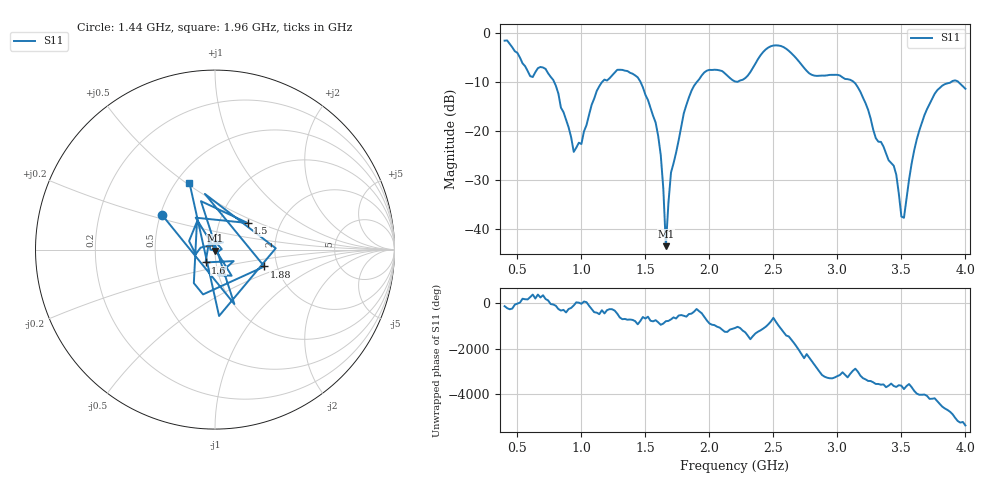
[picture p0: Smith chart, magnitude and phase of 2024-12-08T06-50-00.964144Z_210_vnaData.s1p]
!Created with skrf (http://scikit-rf.org).
# Hz S RI R 50.0
!freq ReS11 ImS11
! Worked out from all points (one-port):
!   181 points, 400 MHz to 4 GHz, reference 50 ohm
!   lowest |S11| = -43.5 dB at 1.66 GHz (marker M1), VSWR 1.01, Z = 50.2 - j0.65 ohm
!   |S11| at or under -10 dB: 788 MHz to 1.16 GHz (372.3 MHz wide, 38.2 % of centre); 1.463 GHz to 1.901 GHz (438.1 MHz wide, 26.1 % of centre); 3.129 GHz to 3.886 GHz (757.3 MHz wide, 21.6 % of centre) (the widest 3 of 4)
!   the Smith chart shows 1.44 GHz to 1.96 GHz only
!   S11 on the Smith chart (normalised r, x): 1.44 GHz: 0.51, +0.23; 1.5 GHz: 1.37, +0.43; 1.6 GHz: 0.89, -0.13; 1.88 GHz: 1.71, -0.35; 1.96 GHz: 0.58, +0.52
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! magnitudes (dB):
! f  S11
! 400 MHz  -1.5
! 600 MHz  -8.8
! 720 MHz  -7.3
! 860 MHz  -16.1
! 940 MHz  -24.2
! 1 GHz  -22.6
! 1.14 GHz  -10.8
! 1.3 GHz  -7.5
! 1.44 GHz  -9.0
! 1.5 GHz  -12.6
! 1.6 GHz  -21.0
! 1.64 GHz  -31.8
! 1.66 GHz  -43.5
! 1.7 GHz  -28.5
! 1.76 GHz  -21.9
! 1.88 GHz  -10.7
! 1.96 GHz  -8.0
! 2.2 GHz  -9.9
! 2.48 GHz  -2.7
! 2.66 GHz  -4.6
! 3.1 GHz  -9.5
! 3.44 GHz  -27.1
! 3.5 GHz  -37.5
! 3.52 GHz  -37.7
! 3.56 GHz  -29.9
! 3.64 GHz  -19.9
! 3.76 GHz  -12.4
! 4 GHz  -11.3
